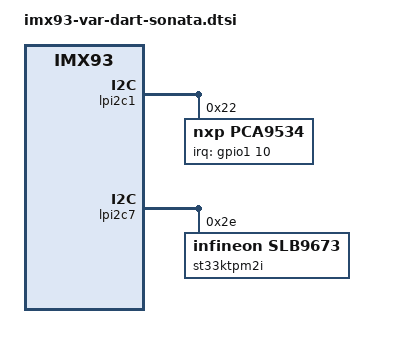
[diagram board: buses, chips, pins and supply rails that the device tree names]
// SPDX-License-Identifier: (GPL-2.0+ OR MIT)
/*
 * Copyright 2024 NXP
 * Copyright 2025 Variscite Ltd.
 */

#include "imx93-var-dart-dt8mcustomboard.dtsi"

&ethphy1 {
	reset-gpios = <&pca6408_2 0 GPIO_ACTIVE_LOW>;
	reset-assert-us = <15000>;
	reset-deassert-us = <100000>;
	mxl-8611x,led0_cfg = <(
		MXL8611X_LEDX_CFG_LINK_UP_RX_ACT_ON |
		MXL8611X_LEDX_CFG_LINK_UP_TX_ACT_ON |
		MXL8611X_LEDX_CFG_TRAFFIC_ACT_BLINK_IND
	)>;
	mxl-8611x,led1_cfg = <(
		MXL8611X_LEDX_CFG_LINK_UP_10MB_ON |
		MXL8611X_LEDX_CFG_LINK_UP_100MB_ON |
		MXL8611X_LEDX_CFG_LINK_UP_1GB_ON
	)>;
};

&lpi2c1 {
	pca9534: gpio@22 {
		compatible = "nxp,pca9534";
		reg = <0x22>;
		gpio-controller;
		#gpio-cells = <2>;
		interrupt-parent = <&gpio1>;
		interrupts = <10 IRQ_TYPE_LEVEL_LOW>;
	};
};

&lpi2c7 {
	st33ktpm2i: st33ktpm2i@2e {
		compatible = "infineon,slb9673";
		reg = <0x2e>;
	};
};

&pinctrl_fec {
	fsl,pins = <
		MX93_PAD_ENET2_RD0__ENET1_RGMII_RD0		0x57e
		MX93_PAD_ENET2_RD1__ENET1_RGMII_RD1		0x57e
		MX93_PAD_ENET2_RD2__ENET1_RGMII_RD2		0x57e
		MX93_PAD_ENET2_RD3__ENET1_RGMII_RD3		0x37e  /* Enable pull-up to strap MXL86110 MDIO address */
		MX93_PAD_ENET2_RXC__ENET1_RGMII_RXC		0x58e
		MX93_PAD_ENET2_RX_CTL__ENET1_RGMII_RX_CTL	0x57e
		MX93_PAD_ENET2_TD0__ENET1_RGMII_TD0		0x57e
		MX93_PAD_ENET2_TD1__ENET1_RGMII_TD1		0x57e
		MX93_PAD_ENET2_TD2__ENET1_RGMII_TD2		0x57e
		MX93_PAD_ENET2_TD3__ENET1_RGMII_TD3		0x57e
		MX93_PAD_ENET2_TXC__ENET1_RGMII_TXC		0x58e
		MX93_PAD_ENET2_TX_CTL__ENET1_RGMII_TX_CTL	0x57e
	>;
};
